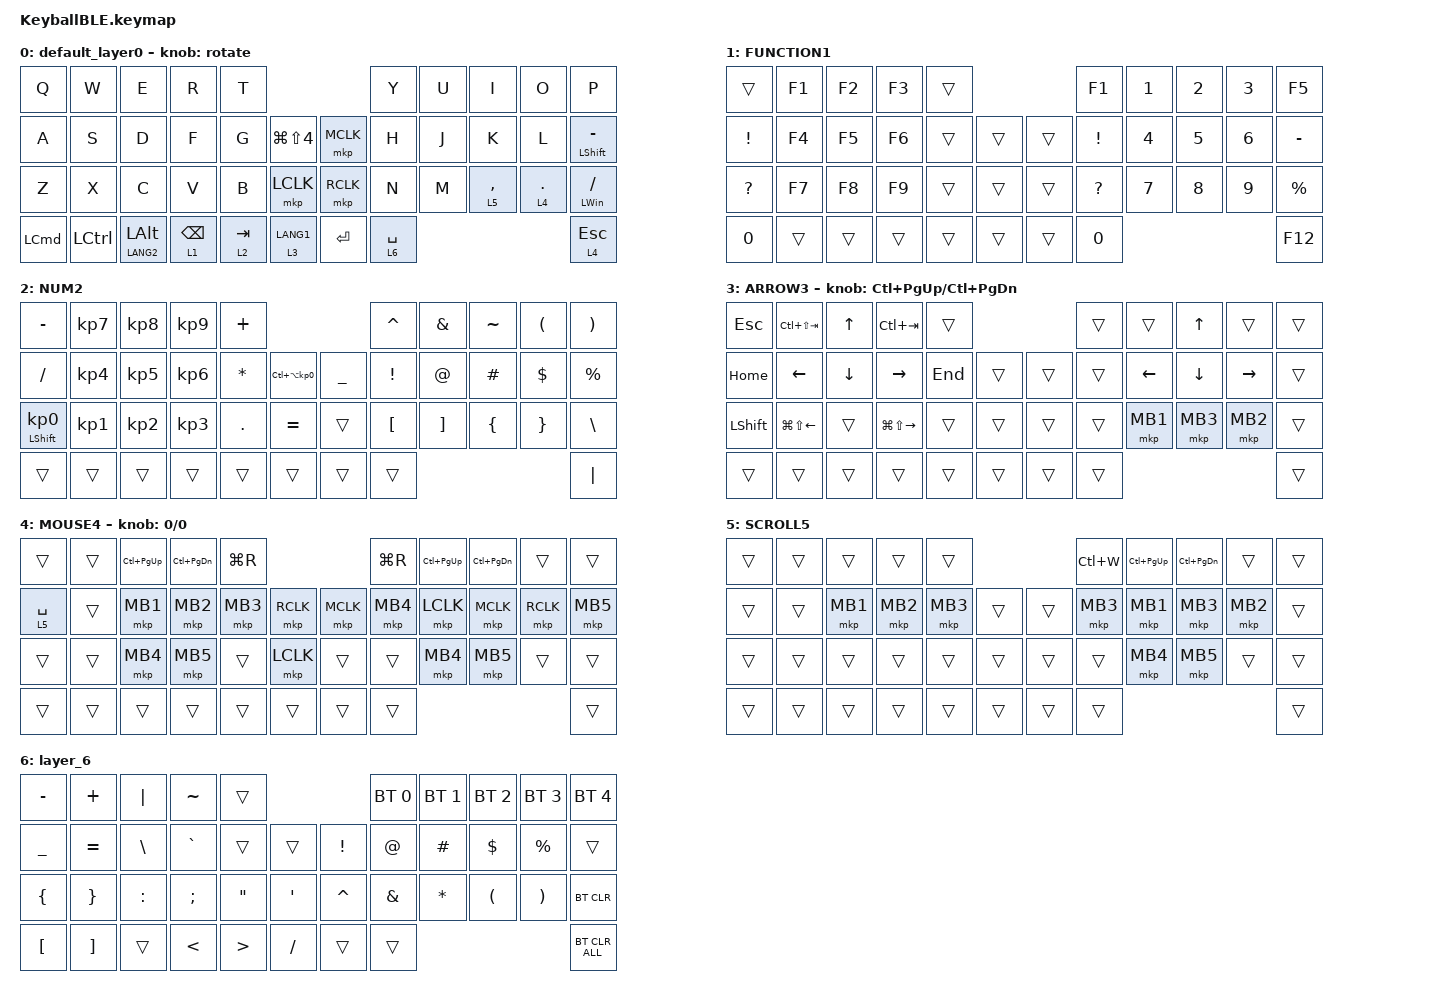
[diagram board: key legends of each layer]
#include <behaviors.dtsi>
#include <dt-bindings/zmk/bt.h>
#include <dt-bindings/zmk/keys.h>
#include <dt-bindings/zmk/pointing.h>

#define ZMK_MOUSE_DEFAULT_SCRL_VAL 25
#define MOUSE 4
#define SCROLL 5
#define NUM 6

&mt {
    flavor = "balanced";
    quick-tap-ms = <0>;
};

/ {
    combos {
        compatible = "zmk,combos";

        double_quotation {
            bindings = <&kp DOUBLE_QUOTES>;
            key-positions = <20 21>;
        };
    };

    macros {
        to_layer_0: to_layer_0 {
            compatible = "zmk,behavior-macro-one-param";
            #binding-cells = <1>;
            bindings = <&to 0 &macro_param_1to1 &kp MACRO_PLACEHOLDER>;
            label = "TO_LAYER_0";
        };
    };

    behaviors {
        lt_to_layer_0: lt_to_layer_0 {
            compatible = "zmk,behavior-hold-tap";
            label = "LAYER_TAP_TO_0";
            bindings = <&mo>, <&to_layer_0>;

            #binding-cells = <2>;
            tapping-term-ms = <200>;
        };

        rotate: rotate {
            compatible = "zmk,behavior-sensor-rotate";
            label = "ROTATE";
            #sensor-binding-cells = <0>;
            bindings = <&msc SCRL_UP>, <&msc SCRL_DOWN>;

            tap-ms = <20>;
        };
    };

    keymap {
        compatible = "zmk,keymap";

        default_layer0 {
            bindings = <
&kp Q             &kp W             &kp E               &kp R                       &kp T                                             &kp Y        &kp U  &kp I        &kp O         &kp P
&kp A             &kp S             &kp D               &kp F                       &kp G      &kp LG(LS(NUMBER_4))        &mkp MCLK  &kp H        &kp J  &kp K        &kp L         &mt LEFT_SHIFT MINUS
&kp Z             &kp X             &kp C               &kp V                       &kp B      &mkp LCLK                   &mkp RCLK  &kp N        &kp M  &lt 5 COMMA  &lt 4 PERIOD  &mt LEFT_WIN SLASH
&kp LEFT_COMMAND  &kp LEFT_CONTROL  &mt LANG2 LEFT_ALT  &lt_to_layer_0 1 BACKSPACE  &lt 2 TAB  &lt_to_layer_0 3 LANG1      &kp ENTER  &lt 6 SPACE                                    &lt 4 ESCAPE
            >;

            sensor-bindings = <&rotate>;
        };

        FUNCTION1 {
            bindings = <
&trans        &kp F1  &kp F2  &kp F3  &trans                      &kp F1        &kp NUMBER_1  &kp NUMBER_2  &kp NUMBER_3  &kp F5
&kp EXCL      &kp F4  &kp F5  &kp F6  &trans  &trans      &trans  &kp EXCL      &kp NUMBER_4  &kp N5        &kp NUMBER_6  &kp MINUS
&kp QUESTION  &kp F7  &kp F8  &kp F9  &trans  &trans      &trans  &kp QUESTION  &kp N7        &kp N8        &kp N9        &kp PERCENT
&kp N0        &trans  &trans  &trans  &trans  &trans      &trans  &kp N0                                                  &kp F12
            >;
        };

        NUM2 {
            bindings = <
&kp MINUS                   &kp KP_NUMBER_7  &kp KP_NUMBER_8  &kp KP_NUMBER_9  &kp PLUS                                                   &kp CARET         &kp AMPERSAND      &kp TILDE       &kp LEFT_PARENTHESIS  &kp RIGHT_PARENTHESIS
&kp SLASH                   &kp KP_NUMBER_4  &kp KP_NUMBER_5  &kp KP_NUMBER_6  &kp ASTERISK  &kp LC(LA(KP_NUMBER_0))      &kp UNDERSCORE  &kp EXCLAMATION   &kp AT_SIGN        &kp HASH        &kp DOLLAR            &kp PERCENT
&mt LEFT_SHIFT KP_NUMBER_0  &kp KP_NUMBER_1  &kp KP_NUMBER_2  &kp KP_NUMBER_3  &kp PERIOD    &kp EQUAL                    &trans          &kp LEFT_BRACKET  &kp RIGHT_BRACKET  &kp LEFT_BRACE  &kp RIGHT_BRACE       &kp BACKSLASH
&trans                      &trans           &trans           &trans           &trans        &trans                       &trans          &trans                                                                     &kp PIPE
            >;
        };

        ARROW3 {
            bindings = <
&kp ESCAPE      &kp LC(LS(TAB))         &kp UP_ARROW    &kp LC(TAB)              &trans                       &trans  &trans          &kp UP_ARROW    &trans           &trans
&kp HOME        &kp LEFT_ARROW          &kp DOWN_ARROW  &kp RIGHT_ARROW          &kp END  &trans      &trans  &trans  &kp LEFT_ARROW  &kp DOWN_ARROW  &kp RIGHT_ARROW  &trans
&kp LEFT_SHIFT  &kp LG(LS(LEFT_ARROW))  &trans          &kp LG(LS(RIGHT_ARROW))  &trans   &trans      &trans  &trans  &mkp MB1        &mkp MB3        &mkp MB2         &trans
&trans          &trans                  &trans          &trans                   &trans   &trans      &trans  &trans                                                   &trans
            >;

            sensor-bindings = <&inc_dec_kp LC(PAGE_UP) LC(PAGE_DOWN)>;
        };

        MOUSE4 {
            bindings = <
&trans       &trans  &kp LC(PAGE_UP)  &kp LC(PAGE_DOWN)  &kp LG(R)                            &kp LG(R)  &kp LC(PAGE_UP)  &kp LC(PAGE_DOWN)  &trans     &trans
&lt 5 SPACE  &trans  &mkp MB1         &mkp MB2           &mkp MB3   &mkp RCLK      &mkp MCLK  &mkp MB4   &mkp LCLK        &mkp MCLK          &mkp RCLK  &mkp MB5
&trans       &trans  &mkp MB4         &mkp MB5           &trans     &mkp LCLK      &trans     &trans     &mkp MB4         &mkp MB5           &trans     &trans
&trans       &trans  &trans           &trans             &trans     &trans         &trans     &trans                                                    &trans
            >;

            sensor-bindings = <&inc_dec_kp 0 0>;
        };

        SCROLL5 {
            bindings = <
&trans  &trans  &trans    &trans    &trans                        &kp LC(W)  &kp LC(PAGE_UP)  &kp LC(PAGE_DOWN)  &trans    &trans
&trans  &trans  &mkp MB1  &mkp MB2  &mkp MB3  &trans      &trans  &mkp MB3   &mkp MB1         &mkp MB3           &mkp MB2  &trans
&trans  &trans  &trans    &trans    &trans    &trans      &trans  &trans     &mkp MB4         &mkp MB5           &trans    &trans
&trans  &trans  &trans    &trans    &trans    &trans      &trans  &trans                                                   &trans
            >;
        };

        layer_6 {
            bindings = <
&kp MINUS         &kp PLUS           &kp PIPE       &kp TILDE      &trans                                              &bt BT_SEL 0   &bt BT_SEL 1  &bt BT_SEL 2          &bt BT_SEL 3           &bt BT_SEL 4
&kp UNDER         &kp EQUAL          &kp BACKSLASH  &kp GRAVE      &trans             &trans                &kp EXCL   &kp AT         &kp HASH      &kp DOLLAR            &kp PERCENT            &trans
&kp LEFT_BRACE    &kp RIGHT_BRACE    &kp COLON      &kp SEMI       &kp DOUBLE_QUOTES  &kp SINGLE_QUOTE      &kp CARET  &kp AMPERSAND  &kp ASTRK     &kp LEFT_PARENTHESIS  &kp RIGHT_PARENTHESIS  &bt BT_CLR
&kp LEFT_BRACKET  &kp RIGHT_BRACKET  &trans         &kp LESS_THAN  &kp GREATER_THAN   &kp SLASH             &trans     &trans                                                                    &bt BT_CLR_ALL
            >;
        };
    };
};
